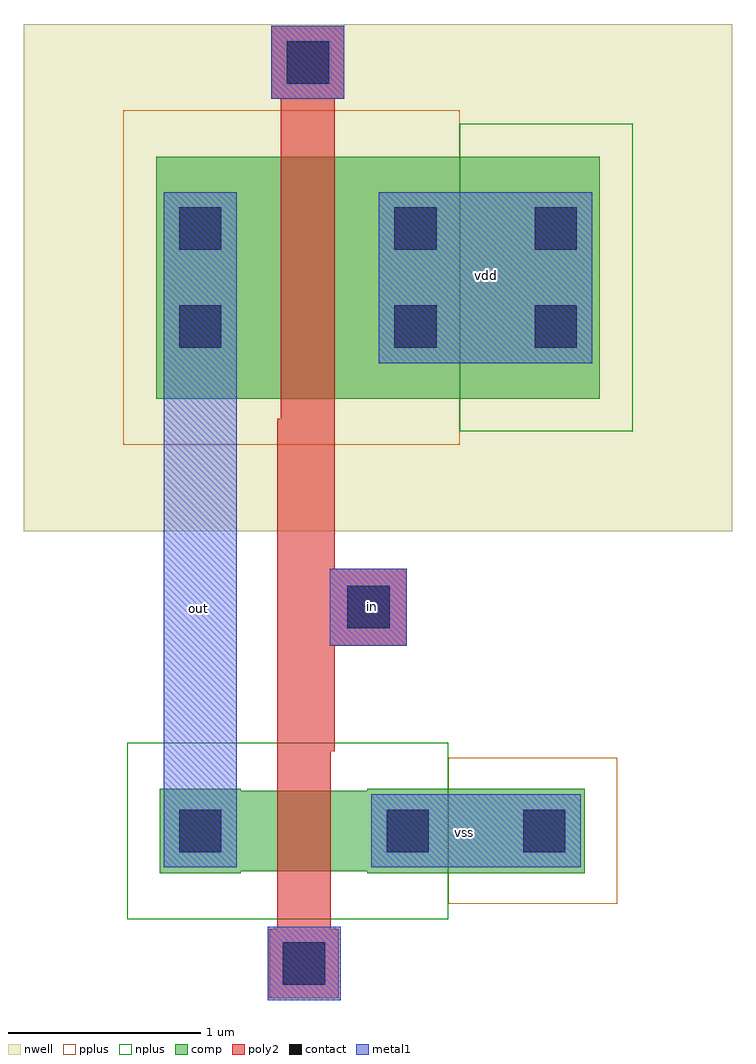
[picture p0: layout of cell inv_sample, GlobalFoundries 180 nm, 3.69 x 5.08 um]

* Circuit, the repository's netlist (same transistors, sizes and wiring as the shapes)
* Extracted by KLayout with GF180MCU LVS runset on : 05/02/2024 19:54

.SUBCKT inv_sample vdd in out vss
M$1 vdd in out vdd pfet_03v3 L=0.28U W=1.26U AS=0.819P AD=0.819P PS=3.82U
+ PD=3.82U
M$2 vss in out vss nfet_03v3 L=0.28U W=0.42U AS=0.2646P AD=0.2646P PS=2.1U
+ PD=2.1U
.ENDS inv_sample

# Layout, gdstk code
import gdstk
lib = gdstk.Library(unit=1e-6, precision=5e-09)
def R(c, l, rs):  # rectangles x0, y0, x1, y1
    for r in rs: c.add(gdstk.rectangle(r[:2], r[2:], *l))
nwell = (21, 0)
comp = (22, 0)
poly2 = (30, 0)
pplus = (31, 0)
nplus = (32, 0)
contact = (33, 0)
metal1 = (34, 0)

nfet_1 = lib.new_cell('nfet$1')
R(nfet_1, comp, [(-0.42,-0.01,0,0.43), (0.66,-0.01,1.08,0.43), (1.08,-0.01,1.79,0.43), (0,0,0.66,0.42)])
R(nfet_1, poly2, [(0.15,-0.66,0.51,-0.3), (0.19,-0.3,0.47,0.72)])
R(nfet_1, pplus, [(1.08,-0.17,1.96,0.59)])
R(nfet_1, nplus, [(-0.59,-0.25,1.08,0.67)])
R(nfet_1, contact, [(0.22,-0.59,0.44,-0.37), (-0.32,0.1,-0.1,0.32), (0.76,0.1,0.98,0.32), (1.47,0.1,1.69,0.32)])
R(nfet_1, metal1, [(0.14,-0.67,0.52,-0.29), (-0.4,0.02,-0.02,0.4), (0.68,0.02,1.06,0.4), (1.39,0.02,1.77,0.4)])

pfet = lib.new_cell('pfet')
R(pfet, nwell, [(-1.15,-0.69,2.54,1.95)])
R(pfet, comp, [(-0.46,0,0,1.26), (0,0,0.66,1.26), (0.66,0,1.12,1.26), (1.12,0,1.85,1.26)])
R(pfet, poly2, [(0.19,-0.3,0.47,1.56), (0.14,1.56,0.52,1.94)])
R(pfet, pplus, [(-0.63,-0.24,1.12,1.5)])
R(pfet, nplus, [(1.12,-0.17,2.02,1.43)])
R(pfet, contact, [(-0.34,0.265,-0.12,0.485), (0.78,0.265,1,0.485), (1.51,0.265,1.73,0.485), (-0.34,0.775,-0.12,0.995), (0.78,0.775,1,0.995), (1.51,0.775,1.73,0.995), (0.22,1.64,0.44,1.86)])
R(pfet, metal1, [(-0.42,0.185,-0.04,1.075), (0.7,0.185,1.08,1.075), (1.43,0.185,1.81,1.075), (0.14,1.56,0.52,1.94)])

via_dev = lib.new_cell('via_dev')
R(via_dev, poly2, [(0,0,0.4,0.4)])
R(via_dev, contact, [(0.09,0.09,0.31,0.31)])
R(via_dev, metal1, [(0,0,0.4,0.4)])

inv_sample = lib.new_cell('inv_sample')
R(inv_sample, poly2, [(-0.205,0.5,0.095,2.23)])
R(inv_sample, metal1, [(0.455,-0.105,1.13,0.275), (-0.795,0.095,-0.415,2.95), (0.325,2.52,1.435,3.41)])
inv_sample.add(gdstk.Reference(nfet_1, (-0.395,-0.125)))
inv_sample.add(gdstk.Reference(pfet, (-0.375,2.335)))
inv_sample.add(gdstk.Reference(via_dev, (0.07,1.05)))
inv_sample.add(gdstk.Label('vdd', (0.885,2.975), layer=34, texttype=10))
inv_sample.add(gdstk.Label('vss', (0.77,0.075), layer=34, texttype=10))
inv_sample.add(gdstk.Label('out', (-0.615,1.245), layer=34, texttype=10))
inv_sample.add(gdstk.Label('in', (0.29,1.255), layer=34, texttype=10))

lib.write_gds('inv_sample.gds')
